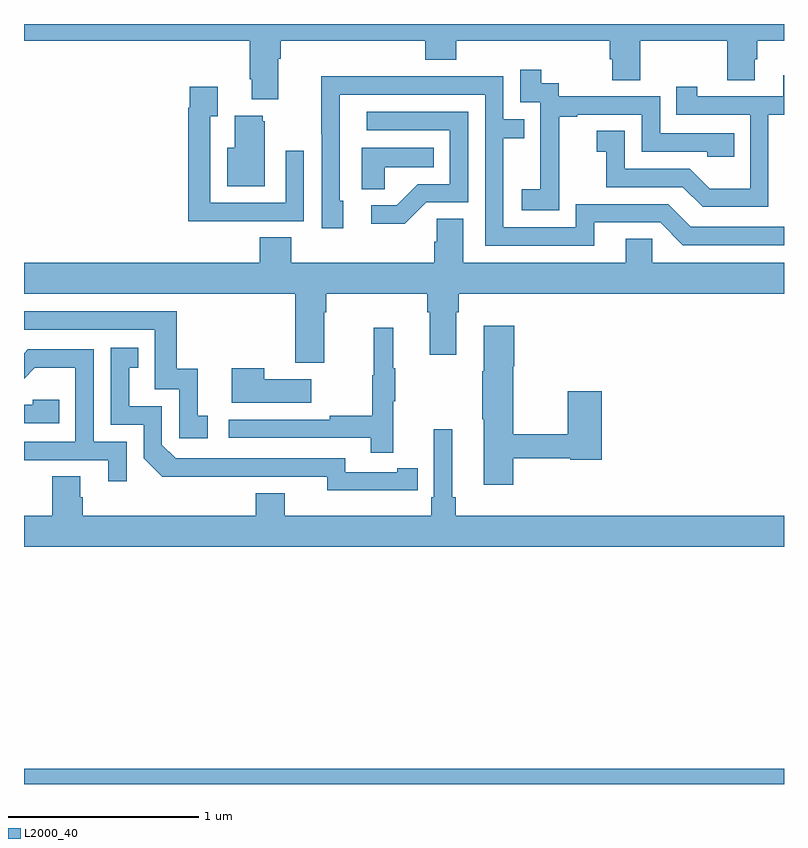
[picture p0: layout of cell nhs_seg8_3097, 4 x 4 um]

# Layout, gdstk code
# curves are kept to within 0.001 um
import gdstk
lib = gdstk.Library(unit=1e-6, precision=1e-09)
def R(c, l, rs):  # rectangles x0, y0, x1, y1
    for r in rs: c.add(gdstk.rectangle(r[:2], r[2:], *l))
def P(c, l, *ps):  # polygons
    for p in ps: c.add(gdstk.Polygon(p, *l))
L2000_40 = (2000, 40)

nhs_seg8_3097 = lib.new_cell('nhs_seg8_3097')
R(nhs_seg8_3097, L2000_40, [(303,1133.9,307,1133.98)])
P(nhs_seg8_3097, L2000_40, [(304.339,1137.716),(304.352,1137.716),(304.352,1137.812),(305.111,1137.812),(305.111,1137.713),(305.276,1137.713),(305.276,1137.812),(306.083,1137.812),(306.083,1137.714),(306.095,1137.714),(306.095,1137.604),(306.243,1137.604),(306.243,1137.812),(306.7,1137.812),(306.7,1137.604),(306.847,1137.604),(306.847,1137.714),(306.86,1137.714),(306.86,1137.812),(307,1137.812),(307,1137.9),(303,1137.9),(303,1137.812),(304.187,1137.812),(304.187,1137.61),(304.199,1137.61),(304.199,1137.503),(304.339,1137.503)],
  [(305.817,1137.127),(305.816,1137.127),(305.816,1137.411),(305.911,1137.411),(305.911,1137.423),(306.252,1137.423),(306.252,1137.228),(306.597,1137.228),(306.597,1137.201),(306.737,1137.201),(306.737,1137.324),(306.348,1137.324),(306.348,1137.519),(305.814,1137.519),(305.814,1137.588),(305.722,1137.588),(305.722,1137.658),(305.613,1137.658),(305.613,1137.489),(305.718,1137.489),(305.718,1137.26),(305.717,1137.26),(305.717,1137.031),(305.619,1137.031),(305.619,1136.921),(305.817,1136.921)],
  [(306.918,1137.423),(307,1137.423),(307,1137.631),(306.995,1137.631),(306.995,1137.519),(306.544,1137.519),(306.544,1137.571),(306.433,1137.571),(306.433,1137.423),(306.822,1137.423),(306.822,1137.034),(306.608,1137.034),(306.504,1137.138),(306.162,1137.138),(306.162,1137.337),(306.015,1137.337),(306.015,1137.227),(306.064,1137.227),(306.064,1137.042),(306.467,1137.042),(306.572,1136.937),(306.918,1136.937)],
  [(306.001,1136.856),(306.348,1136.856),(306.468,1136.736),(307,1136.736),(307,1136.832),(306.51,1136.832),(306.39,1136.952),(305.904,1136.952),(305.904,1136.829),(305.523,1136.829),(305.523,1137.298),(305.633,1137.298),(305.633,1137.399),(305.523,1137.399),(305.523,1137.624),(305.027,1137.624),(305.027,1137.626),(304.564,1137.626),(304.564,1137.319),(304.566,1137.319),(304.566,1136.826),(304.681,1136.826),(304.681,1136.97),(304.662,1136.97),(304.662,1137.528),(305.427,1137.528),(305.427,1136.733),(306.001,1136.733)],
  [(304.157,1136.862),(304.473,1136.862),(304.473,1137.232),(304.377,1137.232),(304.377,1136.958),(303.981,1136.958),(303.981,1137.415),(304.021,1137.415),(304.021,1137.571),(303.873,1137.571),(303.873,1137.458),(303.865,1137.458),(303.865,1136.861),(304.157,1136.861)],
  [(305.118,1136.961),(305.337,1136.961),(305.337,1137.438),(304.803,1137.438),(304.803,1137.342),(305.241,1137.342),(305.241,1137.057),(305.072,1137.057),(304.961,1136.946),(304.827,1136.946),(304.827,1136.849),(305.005,1136.849)],
  [(304.267,1137.387),(304.256,1137.387),(304.256,1137.418),(304.109,1137.418),(304.109,1137.25),(304.07,1137.25),(304.07,1137.047),(304.267,1137.047)],
  [(304.899,1137.146),(305.156,1137.146),(305.156,1137.25),(304.778,1137.25),(304.778,1137.031),(304.899,1137.031)],
  [(304.579,1136.384),(304.592,1136.384),(304.592,1136.48),(305.123,1136.48),(305.123,1136.384),(305.135,1136.384),(305.135,1136.16),(305.275,1136.16),(305.275,1136.384),(305.288,1136.384),(305.288,1136.48),(307,1136.48),(307,1136.644),(306.306,1136.644),(306.306,1136.771),(306.167,1136.771),(306.167,1136.644),(305.311,1136.644),(305.311,1136.876),(305.172,1136.876),(305.172,1136.753),(305.159,1136.753),(305.159,1136.644),(304.406,1136.644),(304.406,1136.777),(304.241,1136.777),(304.241,1136.644),(303,1136.644),(303,1136.48),(304.427,1136.48),(304.427,1136.118),(304.579,1136.118)],
  [(303.967,1135.839),(303.914,1135.839),(303.914,1136.086),(303.803,1136.086),(303.803,1136.388),(303,1136.388),(303,1136.292),(303.687,1136.292),(303.687,1135.977),(303.816,1135.977),(303.816,1135.719),(303.967,1135.719)],
  [(305.574,1135.614),(305.874,1135.614),(305.874,1135.606),(306.041,1135.606),(306.041,1135.966),(305.863,1135.966),(305.863,1135.742),(305.574,1135.742),(305.574,1136.098),(305.579,1136.098),(305.579,1136.311),(305.42,1136.311),(305.42,1136.072),(305.413,1136.072),(305.413,1135.819),(305.42,1135.819),(305.42,1135.476),(305.574,1135.476)],
  [(304.943,1135.915),(304.954,1135.915),(304.954,1136.089),(304.943,1136.089),(304.943,1136.302),(304.84,1136.302),(304.84,1136.052),(304.833,1136.052),(304.833,1135.838),(304.609,1135.838),(304.609,1135.818),(304.077,1135.818),(304.077,1135.722),(304.825,1135.722),(304.825,1135.644),(304.943,1135.644)],
  [(304.964,1135.446),(305.072,1135.446),(305.072,1135.562),(304.964,1135.562),(304.964,1135.542),(304.692,1135.542),(304.692,1135.614),(303.798,1135.614),(303.726,1135.686),(303.726,1135.887),(303.553,1135.887),(303.553,1136.091),(303.602,1136.091),(303.602,1136.197),(303.456,1136.197),(303.456,1135.791),(303.63,1135.791),(303.63,1135.614),(303.728,1135.517),(304.596,1135.518),(304.596,1135.445)],
  [(303.54,1135.701),(303.366,1135.701),(303.366,1136.187),(303.02,1136.187),(303,1136.167),(303,1136.034),(303.056,1136.09),(303.27,1136.09),(303.27,1135.701),(303,1135.701),(303,1135.605),(303.443,1135.605),(303.443,1135.494),(303.54,1135.494)],
  [(304.513,1136.029),(304.265,1136.029),(304.265,1136.089),(304.094,1136.089),(304.094,1135.907),(304.513,1135.907)],
  [(303.185,1135.923),(303.045,1135.923),(303.045,1135.896),(303,1135.896),(303,1135.8),(303.185,1135.8)],
  [(307,1135.312),(305.273,1135.312),(305.273,1135.408),(305.254,1135.408),(305.254,1135.768),(305.157,1135.768),(305.157,1135.408),(305.144,1135.408),(305.144,1135.312),(304.372,1135.312),(304.372,1135.429),(304.22,1135.429),(304.22,1135.312),(303.308,1135.312),(303.308,1135.41),(303.295,1135.41),(303.295,1135.52),(303.148,1135.52),(303.148,1135.312),(303,1135.312),(303,1135.148),(307,1135.148)])

lib.write_gds('nhs_seg8_3097.gds')
